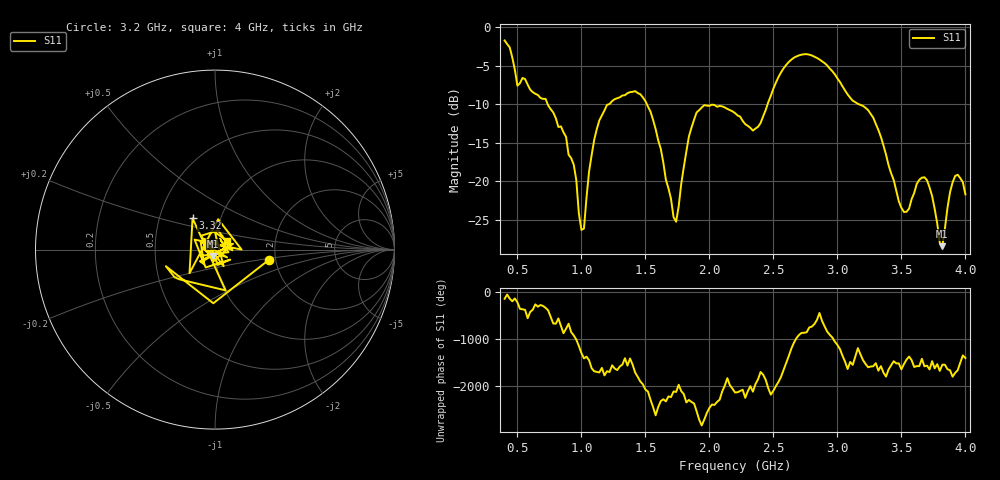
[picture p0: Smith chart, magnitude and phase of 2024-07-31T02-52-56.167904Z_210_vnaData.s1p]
!Created with skrf (http://scikit-rf.org).
# Hz S RI R 50.0
!freq ReS11 ImS11
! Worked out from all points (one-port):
!   181 points, 400 MHz to 4 GHz, reference 50 ohm
!   lowest |S11| = -28.4 dB at 3.82 GHz (marker M1), VSWR 1.08, Z = 48.8 - j3.53 ohm
!   |S11| at or under -10 dB: 736.1 MHz to 1.218 GHz (482 MHz wide, 49.3 % of centre); 1.511 GHz to 2.455 GHz (944.1 MHz wide, 47.6 % of centre); 3.165 GHz to end of sweep
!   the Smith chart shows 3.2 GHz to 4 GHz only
!   S11 on the Smith chart (normalised r, x): 3.2 GHz: 1.85, -0.23; 3.32 GHz: 0.74, +0.27; 4 GHz: 1.14, +0.11
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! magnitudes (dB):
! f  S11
! 400 MHz  -1.7
! 500 MHz  -7.6
! 860 MHz  -13.7
! 940 MHz  -17.9
! 1 GHz  -26.3
! 1.02 GHz  -26.2
! 1.06 GHz  -18.7
! 1.12 GHz  -13.3
! 1.3 GHz  -9.1
! 1.5 GHz  -9.6
! 1.62 GHz  -15.8
! 1.72 GHz  -24.7
! 1.76 GHz  -23.3
! 1.84 GHz  -14.2
! 1.9 GHz  -11.1
! 2.2 GHz  -11.2
! 2.38 GHz  -12.9
! 2.66 GHz  -4.0
! 2.9 GHz  -4.7
! 3.1 GHz  -9.2
! 3.2 GHz  -10.2
! 3.32 GHz  -13.4
! 3.48 GHz  -22.6
! 3.56 GHz  -23.6
! 3.68 GHz  -19.5
! 3.82 GHz  -28.4
! 3.92 GHz  -19.3
! 4 GHz  -21.7
